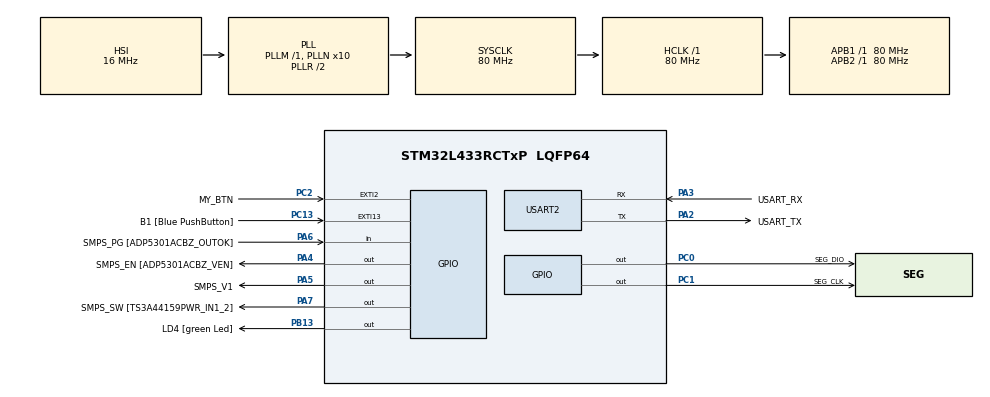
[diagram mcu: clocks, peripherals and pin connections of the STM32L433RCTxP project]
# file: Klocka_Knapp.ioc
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Mcu.Family=STM32L4
Mcu.Name=STM32L433RCTxP
Mcu.Package=LQFP64
NVIC.EXTI2_IRQn=true\:0\:0\:false\:false\:true\:true\:true\:true
NVIC.PriorityGroup=NVIC_PRIORITYGROUP_4
NVIC.TIM1_UP_TIM16_IRQn=true\:0\:0\:false\:false\:true\:true\:true\:true
PA13\ (JTMS-SWDIO).GPIO_Label=TMS
PA13\ (JTMS-SWDIO).Mode=Serial_Wire
PA13\ (JTMS-SWDIO).Signal=SYS_JTMS-SWDIO
PA14\ (JTCK-SWCLK).GPIO_Label=TCK
PA14\ (JTCK-SWCLK).Mode=Serial_Wire
PA14\ (JTCK-SWCLK).Signal=SYS_JTCK-SWCLK
PA2.GPIO_Label=USART_TX
PA2.GPIO_Mode=GPIO_MODE_AF_PP
PA2.GPIO_PuPd=GPIO_NOPULL
PA2.GPIO_Speed=GPIO_SPEED_FREQ_VERY_HIGH
PA2.Mode=Asynchronous
PA2.Signal=USART2_TX
PA3.GPIO_Label=USART_RX
PA3.GPIO_Mode=GPIO_MODE_AF_PP
PA3.GPIO_PuPd=GPIO_NOPULL
PA3.GPIO_Speed=GPIO_SPEED_FREQ_VERY_HIGH
PA3.Mode=Asynchronous
PA3.Signal=USART2_RX
PA4.GPIO_Label=SMPS_EN [ADP5301ACBZ_VEN]
PA4.Signal=GPIO_Output
PA5.GPIO_Label=SMPS_V1
PA5.GPIO_ModeDefaultOutputPP=GPIO_MODE_OUTPUT_PP
PA5.GPIO_PuPd=GPIO_NOPULL
PA5.GPIO_Speed=GPIO_SPEED_FREQ_LOW
PA5.Signal=GPIO_Output
PA6.GPIO_Label=SMPS_PG [ADP5301ACBZ_OUTOK]
PA6.GPIO_PuPd=GPIO_PULLUP
PA6.Signal=GPIO_Input
PA7.GPIO_Label=SMPS_SW [TS3A44159PWR_IN1_2]
PA7.Signal=GPIO_Output
PB13.GPIO_Label=LD4 [green Led]
PB13.Signal=GPIO_Output
PB3\ (JTDO-TRACESWO).GPIO_Label=SWO
PB3\ (JTDO-TRACESWO).Signal=SYS_JTDO-SWO
PC0.GPIO_Label=SEG_DIO
PC0.GPIO_ModeDefaultOutputPP=GPIO_MODE_OUTPUT_OD
PC0.GPIO_PuPd=GPIO_NOPULL
PC0.Signal=GPIO_Output
PC1.GPIO_Label=SEG_CLK
PC1.Signal=GPIO_Output
PC13.GPIO_Label=B1 [Blue PushButton]
PC13.GPIO_ModeDefaultEXTI=GPIO_MODE_IT_FALLING
PC13.GPIO_PuPd=GPIO_NOPULL
PC13.Signal=GPXTI13
PC14-OSC32_IN\ (PC14).Mode=LSE-External-Oscillator
PC14-OSC32_IN\ (PC14).Signal=RCC_OSC32_IN
PC15-OSC32_OUT\ (PC15).Mode=LSE-External-Oscillator
PC15-OSC32_OUT\ (PC15).Signal=RCC_OSC32_OUT
PC2.GPIO_Label=MY_BTN
PC2.GPIO_ModeDefaultEXTI=GPIO_MODE_IT_RISING_FALLING
PC2.Signal=GPXTI2
PH0-OSC_IN\ (PH0).GPIO_Label=MCO
PH0-OSC_IN\ (PH0).Mode=HSE-External-Clock-Source
PH0-OSC_IN\ (PH0).Signal=RCC_OSC_IN
PH1-OSC_OUT\ (PH1).Signal=RCC_OSC_OUT
ProjectManager.HeapSize=0x200
ProjectManager.StackSize=0x400
ProjectManager.TargetToolchain=STM32CubeIDE
RCC.ADCFreq_Value=64000000
RCC.AHBFreq_Value=80000000
RCC.APB1Freq_Value=80000000
RCC.APB1TimFreq_Value=80000000
RCC.APB2Freq_Value=80000000
RCC.APB2TimFreq_Value=80000000
RCC.CortexFreq_Value=80000000
RCC.HCLKFreq_Value=80000000
RCC.HSE_VALUE=8000000
RCC.HSI48_VALUE=48000000
RCC.HSI_VALUE=16000000
RCC.MSI_VALUE=4000000
RCC.PLLN=10
RCC.PLLSourceVirtual=RCC_PLLSOURCE_HSI
RCC.PREFETCH_ENABLE=1
RCC.SYSCLKFreq_VALUE=80000000
RCC.SYSCLKSource=RCC_SYSCLKSOURCE_PLLCLK
RCC.USBFreq_Value=64000000
RCC.VCOOutputFreq_Value=160000000
TIM1.AutoReloadPreload=TIM_AUTORELOAD_PRELOAD_ENABLE
TIM1.Period=20000
TIM1.Prescaler=2000
USART2.VirtualMode-Asynchronous=VM_ASYNC
VP_TIM1_VS_ClockSourceINT.Mode=Internal
board=NUCLEO-L433RC-P

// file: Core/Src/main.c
/* USER CODE BEGIN Header */
/**
 ******************************************************************************
 * @file           : main.c
 * @brief          : Main program body
 ******************************************************************************
 * @attention
 *
 * Copyright (c) 2026 STMicroelectronics.
 * All rights reserved.
 *
 * This software is licensed under terms that can be found in the LICENSE file
 * in the root directory of this software component.
 * If no LICENSE file comes with this software, it is provided AS-IS.
 *
 ******************************************************************************
 */
/* USER CODE END Header */
#include "main.h"

/* USER CODE BEGIN Includes */
#include "quad_sseg.h"
#include "menu.h"
#include "clock.h"
#include "button.h"
#include <stdlib.h>
#include <stdio.h>
#include <stdint.h>
#include <stdbool.h>

/* USER CODE END Includes */

TIM_HandleTypeDef htim1;
UART_HandleTypeDef huart2;

void SystemClock_Config(void);
static void MX_GPIO_Init(void);
static void MX_USART2_UART_Init(void);
static void MX_TIM1_Init(void);

int main(void)
{

  /* MCU Configuration--------------------------------------------------------*/

  /* Reset of all peripherals, Initializes the Flash interface and the Systick. */
  HAL_Init();

  /* Configure the system clock */
  SystemClock_Config();

  /* Initialize all configured peripherals */
  MX_GPIO_Init();
  MX_USART2_UART_Init();
  MX_TIM1_Init();

  /* Infinite loop */
	while (1) {

    /* USER CODE BEGIN 3 */

		uart_print_menu();
		int menu_choice = uart_get_menu_choice();
		{
			switch (menu_choice) {
			case 1:
				clock_mode();
				break;
			case 2:
				button_mode();
				break;
			default:
				break;
			}
		}
	}
  /* USER CODE END 3 */
}

void SystemClock_Config(void)
{
  RCC_OscInitTypeDef RCC_OscInitStruct = {0};
  RCC_ClkInitTypeDef RCC_ClkInitStruct = {0};

  /** Configure the main internal regulator output voltage
  */
  if (HAL_PWREx_ControlVoltageScaling(PWR_REGULATOR_VOLTAGE_SCALE1) != HAL_OK)
  {
    Error_Handler();
  }

  /** Initializes the RCC Oscillators according to the specified parameters
  * in the RCC_OscInitTypeDef structure.
  */
  RCC_OscInitStruct.OscillatorType = RCC_OSCILLATORTYPE_HSI;
  RCC_OscInitStruct.HSIState = RCC_HSI_ON;
  RCC_OscInitStruct.HSICalibrationValue = RCC_HSICALIBRATION_DEFAULT;
  RCC_OscInitStruct.PLL.PLLState = RCC_PLL_ON;
  RCC_OscInitStruct.PLL.PLLSource = RCC_PLLSOURCE_HSI;
  RCC_OscInitStruct.PLL.PLLM = 1;
  RCC_OscInitStruct.PLL.PLLN = 10;
  RCC_OscInitStruct.PLL.PLLP = RCC_PLLP_DIV7;
  RCC_OscInitStruct.PLL.PLLQ = RCC_PLLQ_DIV2;
  RCC_OscInitStruct.PLL.PLLR = RCC_PLLR_DIV2;
  if (HAL_RCC_OscConfig(&RCC_OscInitStruct) != HAL_OK)
  {
    Error_Handler();
  }

  /** Initializes the CPU, AHB and APB buses clocks
  */
  RCC_ClkInitStruct.ClockType = RCC_CLOCKTYPE_HCLK|RCC_CLOCKTYPE_SYSCLK
                              |RCC_CLOCKTYPE_PCLK1|RCC_CLOCKTYPE_PCLK2;
  RCC_ClkInitStruct.SYSCLKSource = RCC_SYSCLKSOURCE_PLLCLK;
  RCC_ClkInitStruct.AHBCLKDivider = RCC_SYSCLK_DIV1;
  RCC_ClkInitStruct.APB1CLKDivider = RCC_HCLK_DIV1;
  RCC_ClkInitStruct.APB2CLKDivider = RCC_HCLK_DIV1;

  if (HAL_RCC_ClockConfig(&RCC_ClkInitStruct, FLASH_LATENCY_4) != HAL_OK)
  {
    Error_Handler();
  }
}

static void MX_TIM1_Init(void)
{

  TIM_ClockConfigTypeDef sClockSourceConfig = {0};
  TIM_MasterConfigTypeDef sMasterConfig = {0};

  htim1.Instance = TIM1;
  htim1.Init.Prescaler = 2000;
  htim1.Init.CounterMode = TIM_COUNTERMODE_UP;
  htim1.Init.Period = 20000;
  htim1.Init.ClockDivision = TIM_CLOCKDIVISION_DIV1;
  htim1.Init.RepetitionCounter = 0;
  htim1.Init.AutoReloadPreload = TIM_AUTORELOAD_PRELOAD_ENABLE;
  if (HAL_TIM_Base_Init(&htim1) != HAL_OK)
  {
    Error_Handler();
  }
  sClockSourceConfig.ClockSource = TIM_CLOCKSOURCE_INTERNAL;
  if (HAL_TIM_ConfigClockSource(&htim1, &sClockSourceConfig) != HAL_OK)
  {
    Error_Handler();
  }
  sMasterConfig.MasterOutputTrigger = TIM_TRGO_RESET;
  sMasterConfig.MasterOutputTrigger2 = TIM_TRGO2_RESET;
  sMasterConfig.MasterSlaveMode = TIM_MASTERSLAVEMODE_DISABLE;
  if (HAL_TIMEx_MasterConfigSynchronization(&htim1, &sMasterConfig) != HAL_OK)
  {
    Error_Handler();
  }

}

static void MX_USART2_UART_Init(void)
{

  huart2.Instance = USART2;
  huart2.Init.BaudRate = 115200;
  huart2.Init.WordLength = UART_WORDLENGTH_8B;
  huart2.Init.StopBits = UART_STOPBITS_1;
  huart2.Init.Parity = UART_PARITY_NONE;
  huart2.Init.Mode = UART_MODE_TX_RX;
  huart2.Init.HwFlowCtl = UART_HWCONTROL_NONE;
  huart2.Init.OverSampling = UART_OVERSAMPLING_16;
  huart2.Init.OneBitSampling = UART_ONE_BIT_SAMPLE_DISABLE;
  huart2.AdvancedInit.AdvFeatureInit = UART_ADVFEATURE_NO_INIT;
  if (HAL_UART_Init(&huart2) != HAL_OK)
  {
    Error_Handler();
  }

}

static void MX_GPIO_Init(void)
{
  GPIO_InitTypeDef GPIO_InitStruct = {0};

  /* GPIO Ports Clock Enable */
  __HAL_RCC_GPIOC_CLK_ENABLE();
  __HAL_RCC_GPIOH_CLK_ENABLE();
  __HAL_RCC_GPIOA_CLK_ENABLE();
  __HAL_RCC_GPIOB_CLK_ENABLE();

  /*Configure GPIO pin Output Level */
  HAL_GPIO_WritePin(GPIOC, SEG_DIO_Pin|SEG_CLK_Pin, GPIO_PIN_RESET);

  /*Configure GPIO pin Output Level */
  HAL_GPIO_WritePin(GPIOA, SMPS_EN_Pin|SMPS_V1_Pin|SMPS_SW_Pin, GPIO_PIN_RESET);

  /*Configure GPIO pin Output Level */
  HAL_GPIO_WritePin(LD4_GPIO_Port, LD4_Pin, GPIO_PIN_RESET);

  /*Configure GPIO pin : B1_Pin */
  GPIO_InitStruct.Pin = B1_Pin;
  GPIO_InitStruct.Mode = GPIO_MODE_IT_FALLING;
  GPIO_InitStruct.Pull = GPIO_NOPULL;
  HAL_GPIO_Init(B1_GPIO_Port, &GPIO_InitStruct);

  /*Configure GPIO pin : SEG_DIO_Pin */
  GPIO_InitStruct.Pin = SEG_DIO_Pin;
  GPIO_InitStruct.Mode = GPIO_MODE_OUTPUT_OD;
  GPIO_InitStruct.Pull = GPIO_NOPULL;
  GPIO_InitStruct.Speed = GPIO_SPEED_FREQ_LOW;
  HAL_GPIO_Init(SEG_DIO_GPIO_Port, &GPIO_InitStruct);

  /*Configure GPIO pin : SEG_CLK_Pin */
  GPIO_InitStruct.Pin = SEG_CLK_Pin;
  GPIO_InitStruct.Mode = GPIO_MODE_OUTPUT_PP;
  GPIO_InitStruct.Pull = GPIO_NOPULL;
  GPIO_InitStruct.Speed = GPIO_SPEED_FREQ_LOW;
  HAL_GPIO_Init(SEG_CLK_GPIO_Port, &GPIO_InitStruct);

  /*Configure GPIO pin : MY_BTN_Pin */
  GPIO_InitStruct.Pin = MY_BTN_Pin;
  GPIO_InitStruct.Mode = GPIO_MODE_IT_RISING_FALLING;
  GPIO_InitStruct.Pull = GPIO_NOPULL;
  HAL_GPIO_Init(MY_BTN_GPIO_Port, &GPIO_InitStruct);

  /*Configure GPIO pins : SMPS_EN_Pin SMPS_V1_Pin SMPS_SW_Pin */
  GPIO_InitStruct.Pin = SMPS_EN_Pin|SMPS_V1_Pin|SMPS_SW_Pin;
  GPIO_InitStruct.Mode = GPIO_MODE_OUTPUT_PP;
  GPIO_InitStruct.Pull = GPIO_NOPULL;
  GPIO_InitStruct.Speed = GPIO_SPEED_FREQ_LOW;
  HAL_GPIO_Init(GPIOA, &GPIO_InitStruct);

  /*Configure GPIO pin : SMPS_PG_Pin */
  GPIO_InitStruct.Pin = SMPS_PG_Pin;
  GPIO_InitStruct.Mode = GPIO_MODE_INPUT;
  GPIO_InitStruct.Pull = GPIO_PULLUP;
  HAL_GPIO_Init(SMPS_PG_GPIO_Port, &GPIO_InitStruct);

  /*Configure GPIO pin : LD4_Pin */
  GPIO_InitStruct.Pin = LD4_Pin;
  GPIO_InitStruct.Mode = GPIO_MODE_OUTPUT_PP;
  GPIO_InitStruct.Pull = GPIO_NOPULL;
  GPIO_InitStruct.Speed = GPIO_SPEED_FREQ_LOW;
  HAL_GPIO_Init(LD4_GPIO_Port, &GPIO_InitStruct);

  /* EXTI interrupt init*/
  HAL_NVIC_SetPriority(EXTI2_IRQn, 0, 0);
  HAL_NVIC_EnableIRQ(EXTI2_IRQn);

}

void Error_Handler(void)
{
	__disable_irq();
	while (1) {
	}
}
